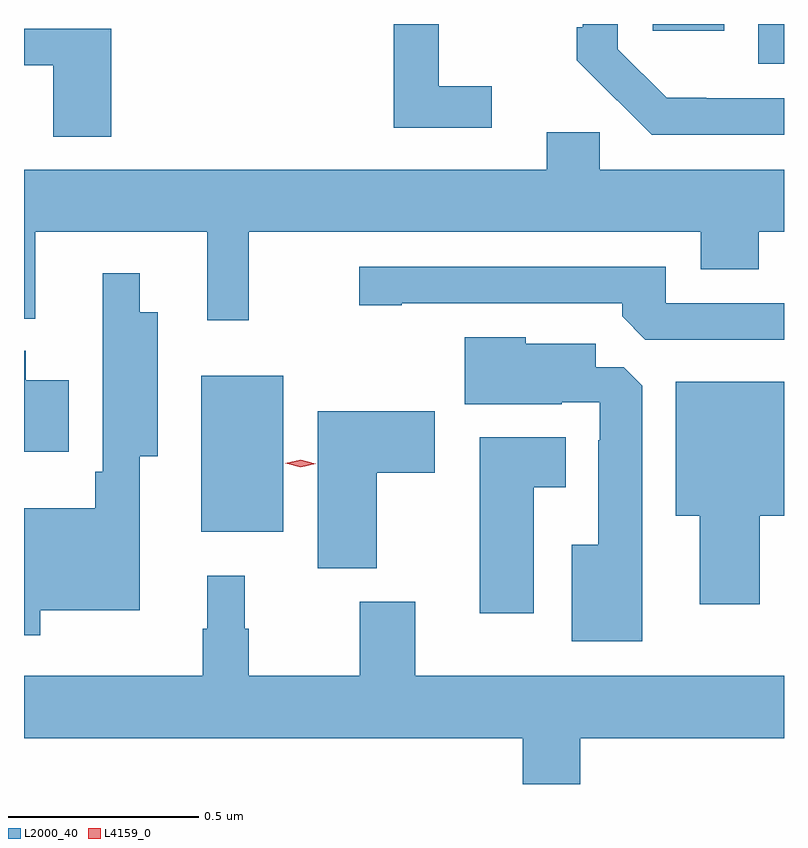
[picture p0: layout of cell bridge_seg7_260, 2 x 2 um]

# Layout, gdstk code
import gdstk
lib = gdstk.Library(unit=1e-6, precision=1e-09)
def R(c, l, rs):  # rectangles x0, y0, x1, y1
    for r in rs: c.add(gdstk.rectangle(r[:2], r[2:], *l))
def P(c, l, *ps):  # polygons
    for p in ps: c.add(gdstk.Polygon(p, *l))
L2000_40 = (2000, 40)
L4159_0 = (4159, 0)

bridge_seg7_260 = lib.new_cell('bridge_seg7_260')
R(bridge_seg7_260, L2000_40, [(174.155,1037.123,174.37,1037.533), (175.62,1038.354,175.688,1038.459), (175.343,1038.441,175.531,1038.459)])
P(bridge_seg7_260, L2000_40, [(174.919,1038.295),(174.779,1038.295),(174.779,1038.459),(174.661,1038.459),(174.661,1038.186),(174.919,1038.186)],
  [(175.688,1038.264),(175.483,1038.264),(175.483,1038.265),(175.38,1038.265),(175.251,1038.393),(175.251,1038.459),(175.158,1038.459),(175.158,1038.451),(175.143,1038.451),(175.143,1038.363),(175.248,1038.258),(175.249,1038.259),(175.34,1038.168),(175.688,1038.168)],
  [(173.918,1038.447),(173.688,1038.447),(173.688,1038.351),(173.765,1038.351),(173.765,1038.162),(173.918,1038.162)],
  [(174.28,1037.912),(175.469,1037.912),(175.469,1037.813),(175.622,1037.813),(175.622,1037.912),(175.688,1037.912),(175.688,1038.076),(175.203,1038.076),(175.203,1038.174),(175.064,1038.174),(175.064,1038.076),(173.688,1038.076),(173.688,1037.684),(173.717,1037.684),(173.717,1037.912),(174.17,1037.912),(174.17,1037.679),(174.28,1037.679)],
  [(175.688,1037.724),(175.377,1037.724),(175.377,1037.82),(174.57,1037.82),(174.57,1037.719),(174.682,1037.719),(174.682,1037.724),(175.262,1037.724),(175.262,1037.69),(175.323,1037.628),(175.688,1037.628)],
  [(173.731,1036.916),(173.992,1036.916),(173.992,1037.321),(174.04,1037.321),(174.04,1037.701),(173.993,1037.701),(173.993,1037.803),(173.895,1037.803),(173.895,1037.281),(173.875,1037.281),(173.875,1037.185),(173.688,1037.185),(173.688,1036.851),(173.731,1036.851)],
  [(175.315,1037.507),(175.266,1037.556),(175.192,1037.556),(175.192,1037.617),(175.008,1037.617),(175.008,1037.635),(174.848,1037.635),(174.848,1037.459),(175.103,1037.459),(175.103,1037.463),(175.203,1037.463),(175.203,1037.363),(175.199,1037.363),(175.199,1037.089),(175.13,1037.089),(175.13,1036.835),(175.315,1036.835)],
  [(173.806,1037.521),(173.692,1037.521),(173.692,1037.599),(173.688,1037.599),(173.688,1037.333),(173.806,1037.333)],
  [(175.624,1037.165),(175.688,1037.165),(175.688,1037.518),(175.403,1037.518),(175.403,1037.165),(175.466,1037.165),(175.466,1036.932),(175.624,1036.932)],
  [(174.616,1037.278),(174.769,1037.278),(174.769,1037.44),(174.461,1037.44),(174.461,1037.027),(174.616,1037.027)],
  [(175.03,1037.24),(175.114,1037.24),(175.114,1037.371),(174.887,1037.371),(174.887,1036.908),(175.03,1036.908)],
  [(175.152,1036.58),(175.688,1036.58),(175.688,1036.744),(174.718,1036.744),(174.718,1036.939),(174.571,1036.939),(174.571,1036.744),(174.28,1036.744),(174.28,1036.868),(174.269,1036.868),(174.269,1037.007),(174.17,1037.007),(174.17,1036.868),(174.159,1036.868),(174.159,1036.744),(173.688,1036.744),(173.688,1036.58),(175.001,1036.58),(175.001,1036.459),(175.152,1036.459)])
P(bridge_seg7_260, L4159_0, [(174.416,1037.292),(174.376,1037.303),(174.376,1037.303),(174.376,1037.303),(174.416,1037.312),(174.456,1037.302),(174.456,1037.302),(174.456,1037.302)])

lib.write_gds('bridge_seg7_260.gds')
